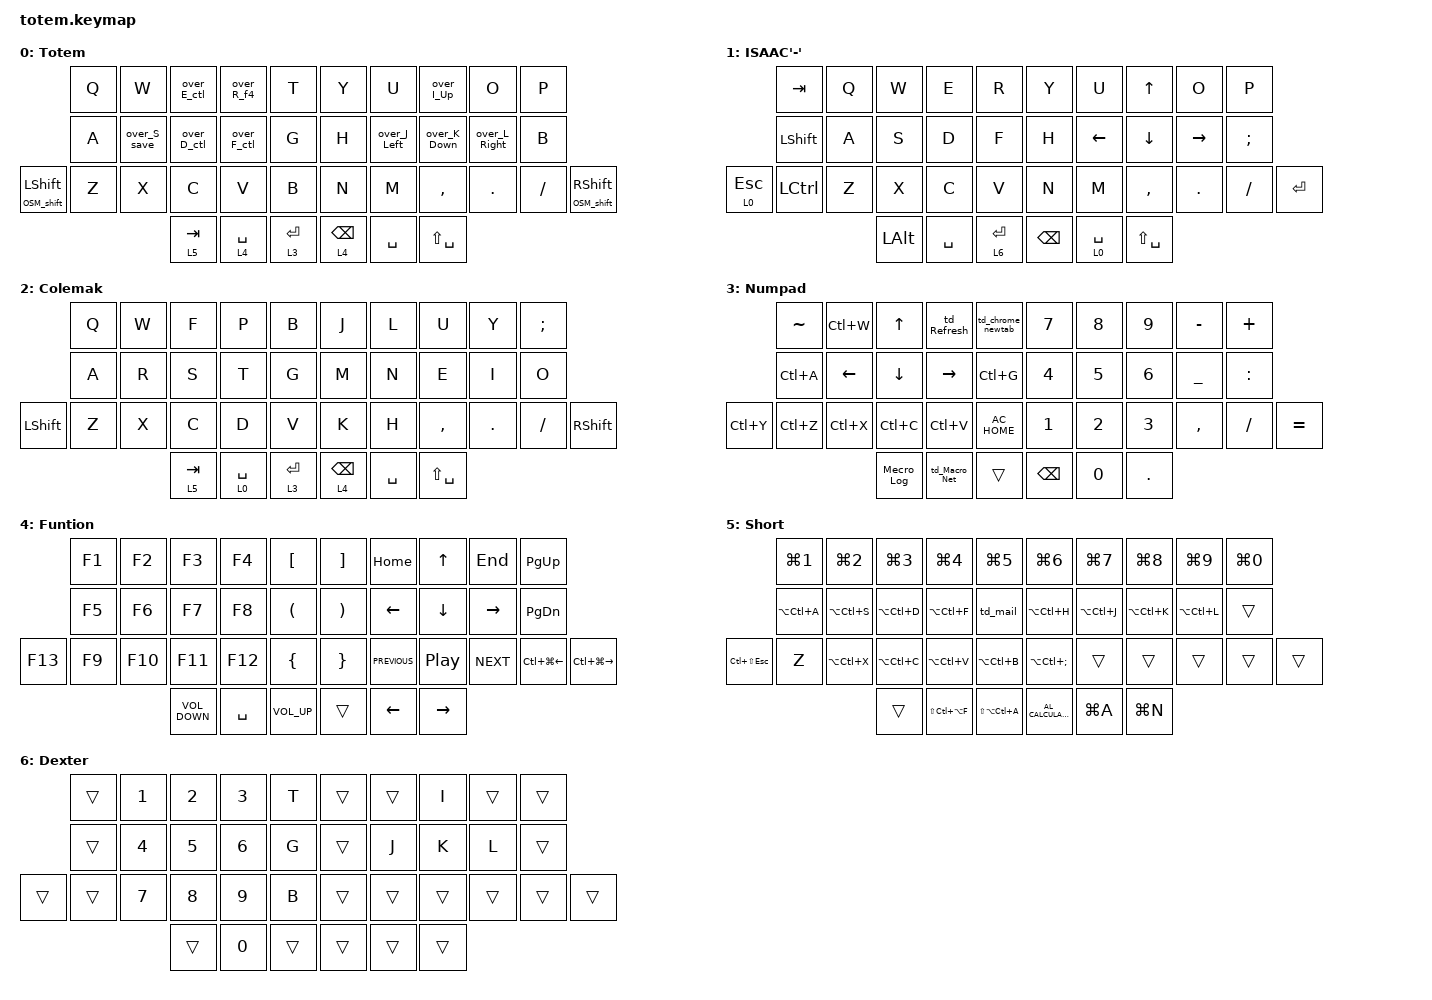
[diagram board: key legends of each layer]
//
//                                                        ▀▀▀▀▀     ▀▀▀▀▀          ▀▀█▀▀
//                                                        ▄▀▀▀▄  ▄  ▄▀▀▀▄  ▄  ▄▀▀▀▄  █  ▄▀▀▀▄
//                                                        █   █  █  █   █  █  █   █  █  █   █
//                                                         ▀▀▀   █   ▀▀▀   █   ▀▀▀   ▀   ▀▀▀
//                                                               █      ▄▄▄█▄▄▄    █   █  
//                                                               ▀      █  █  █     █▄█
//                                                             ▀▀▀▀▀    █  █  █      ▀
//                                                                      ▀  ▀  ▀
//
// ▄▄▄▄▄▄▄▄▄▄▄▄▄▄▄▄▄▄▄▄▄▄▄▄▄▄▄▄▄▄▄▄▄▄▄▄▄▄▄▄▄▄▄▄▄▄▄▄▄▄▄▄▄▄▄▄▄▄▄▄▄▄▄▄▄▄▄▄▄▄▄▄▄▄▄▄▄▄▄▄▄▄▄▄▄▄▄▄▄▄▄▄▄▄▄▄▄▄▄▄▄▄▄▄▄▄▄▄▄▄▄▄▄▄▄▄▄▄▄▄▄▄▄▄▄▄▄▄▄▄▄▄▄▄▄▄▄▄▄▄▄▄▄▄▄▄▄▄▄

#include <behaviors.dtsi>
#include <dt-bindings/zmk/keys.h>

#define Base        0
#define Nav         1
#define Sym         2
#define Fun         3
#define Game        4
#define Gameplus    5

&mt {
    quick-tap-ms = <100>;
    global-quick-tap;
    flavor = "tap-preferred";
    tapping-term-ms = <170>;
};

&lt {
    tapping-term-ms = <240>;
    flavor = "balanced";
    quick-tap-ms = <150>;
};

/ {
    behaviors {
        hm: homerow_mods {
            compatible = "zmk,behavior-hold-tap";
            label = "HOMEROW_MODS";
            #binding-cells = <2>;
            flavor = "tap-preferred";
            tapping-term-ms = <200>;
            quick-tap-ms = <130>;
            global-quick-tap;
            bindings = <&kp>, <&kp>;
        };

        td_Macro_Net: td_Macro_Net {
            compatible = "zmk,behavior-tap-dance";
            label = "TD_MACRO_NET";
            #binding-cells = <0>;
            bindings = <&Macro_Net1>, <&Macro_Net2>;

            tapping-term-ms = <350>;
        };

        td_Refresh: td_Refresh {
            compatible = "zmk,behavior-tap-dance";
            label = "TD_REFRESH";
            #binding-cells = <0>;
            bindings = <&kp LC(R)>, <&Mecro_Refresh>;

            tapping-term-ms = <350>;
        };

        td_mail: td_mail {
            compatible = "zmk,behavior-tap-dance";
            label = "TD_MAIL";
            #binding-cells = <0>;
            bindings = <&kp LA(LC(G))>, <&kp LA(LC(N))>;
        };

        td_chrome_newtab: td_chrome_newtab {
            compatible = "zmk,behavior-tap-dance";
            label = "TD_CHROME_NEWTAB";
            #binding-cells = <0>;
            bindings = <&kp LC(T)>, <&kp LC(LS(T))>;

            tapping-term-ms = <350>;
        };

        over_S_save: over_S_save {
            compatible = "zmk,behavior-mod-morph";
            label = "OVER_S_SAVE";
            bindings = <&kp S>, <&kp LC(S)>;

            #binding-cells = <0>;
            mods = <(MOD_LSFT)>;
        };

        over_I_Up: over_I_Up {
            compatible = "zmk,behavior-mod-morph";
            label = "OVER_I_UP";
            bindings = <&kp I>, <&kp LS(UP_ARROW)>;

            #binding-cells = <0>;
            mods = <(MOD_LSFT)>;
        };

        over_J_Left: over_J_Left {
            compatible = "zmk,behavior-mod-morph";
            label = "OVER_J_LEFT";
            bindings = <&kp J>, <&kp LS(LEFT_ARROW)>;

            #binding-cells = <0>;
            mods = <(MOD_LSFT)>;
        };

        over_K_Down: over_K_Down {
            compatible = "zmk,behavior-mod-morph";
            label = "OVER_K_DOWN";
            bindings = <&kp K>, <&kp LS(DOWN_ARROW)>;

            #binding-cells = <0>;
            mods = <(MOD_LSFT)>;
        };

        over_L_Right: over_L_Right {
            compatible = "zmk,behavior-mod-morph";
            label = "OVER_L_RIGHT";
            bindings = <&kp L>, <&kp LS(RIGHT_ARROW)>;

            #binding-cells = <0>;
            mods = <(MOD_LSFT)>;
        };

        hmc: homerow_mods_ctrl {
            compatible = "zmk,behavior-hold-tap";
            label = "HMC";
            #binding-cells = <2>;
            flavor = "tap-preferred";
            tapping-term-ms = <200>;
            quick-tap-ms = <130>;
            global-quick-tap;
            bindings = <&kp>, <&kp>;

            hold-trigger-key-positions = <34>;
        };

        OSM_shift: OSM_shift {
            compatible = "zmk,behavior-sticky-key";
            label = "OSM_SHIFT";
            bindings = <&kp>;
            #binding-cells = <1>;
            release-after-ms = <200>;
            quick-release;
        };

        LT_hold: LT_hold {
            compatible = "zmk,behavior-hold-tap";
            label = "LT_HOLD";
            bindings = <&mo>, <&kp>;

            #binding-cells = <2>;
            tapping-term-ms = <240>;
            quick-tap-ms = <140>;
            retro-tap;
        };

        MT_hold: MT_hold {
            compatible = "zmk,behavior-hold-tap";
            label = "MT_HOLD";
            bindings = <&kp>, <&kp>;

            #binding-cells = <2>;
            tapping-term-ms = <240>;
            quick-tap-ms = <200>;
        };

        over_R_f4: over_R_f4 {
            compatible = "zmk,behavior-mod-morph";
            label = "OVER_R_F4";
            bindings = <&kp R>, <&kp LA(F4)>;

            #binding-cells = <0>;
            mods = <(MOD_LSFT)>;
        };

        over_D_ctl: over_D_ctl {
            compatible = "zmk,behavior-mod-morph";
            label = "OVER_D_CTL";
            bindings = <&kp D>, <&kp LC(D)>;

            #binding-cells = <0>;
            mods = <(MOD_LSFT)>;
        };

        over_E_ctl: over_E_ctl {
            compatible = "zmk,behavior-mod-morph";
            label = "OVER_E_CTL";
            bindings = <&kp E>, <&kp LC(E)>;

            #binding-cells = <0>;
            mods = <(MOD_LSFT)>;
        };

        over_F_ctl: over_F_ctl {
            compatible = "zmk,behavior-mod-morph";
            label = "OVER_F_CTL";
            bindings = <&kp F>, <&kp LC(F)>;

            #binding-cells = <0>;
            mods = <(MOD_LSFT)>;
        };

        ht_test: ht_test {
            compatible = "zmk,behavior-hold-tap";
            label = "HT_TEST";
            bindings = <&kp>, <&kp>;

            #binding-cells = <2>;
            tapping-term-ms = <350>;
        };

        td_hold_test: td_hold_test {
            compatible = "zmk,behavior-tap-dance";
            label = "TD_HOLD_TEST";
            #binding-cells = <0>;
            bindings = <&kp NUMBER_1>, <&ht_test NUMBER_3 NUMBER_2>;
        };
    };

    combos {
        compatible = "zmk,combos";

        Delete_alt {
            bindings = <&hm LEFT_ALT DEL>;
            key-positions = <11 12>;
            layers = <0 2>;
        };

        question {
            bindings = <&kp QUESTION>;
            key-positions = <16 17>;
            layers = <0 2>;
            timeout-ms = <350>;
        };

        Enter {
            bindings = <&kp ENTER>;
            key-positions = <19 31>;
            layers = <0 2>;
            timeout-ms = <350>;
        };

        Esc {
            bindings = <&kp ESCAPE>;
            key-positions = <0 1>;
            layers = <0 2 3>;
        };

        brackets {
            bindings = <&Macro_brackets>;
            key-positions = <13 14>;
            layers = <0 2 3>;
        };

        caps {
            bindings = <&kp CAPS>;
            key-positions = <0 1 8 9>;
            layers = <0 2>;
            timeout-ms = <350>;
        };

        four {
            bindings = <&kp DOLLAR>;
            key-positions = <4 3>;
            layers = <0 3 2>;
            require-prior-idle-ms = <100>;
        };

        caps_word {
            bindings = <&caps_word>;
            key-positions = <27 28>;
            timeout-ms = <350>;
            layers = <0 2>;
        };

        del {
            bindings = <&hm RIGHT_ALT DELETE>;
            key-positions = <18 17>;
            layers = <0 2>;
        };

        quotes {
            bindings = <&kp DOUBLE_QUOTES>;
            key-positions = <30 29>;
            layers = <0 2>;
        };

        exclamation {
            bindings = <&hm LEFT_SHIFT EXCLAMATION>;
            key-positions = <12 13>;
            layers = <0 2 3>;
        };

        qua {
            bindings = <&kp SQT>;
            key-positions = <29 28>;
            layers = <0 2 3>;
            require-prior-idle-ms = <100>;
        };

        win {
            bindings = <&kp LEFT_WIN>;
            key-positions = <21 22>;
            layers = <0 2>;
        };

        xcut {
            bindings = <&kp LC(X)>;
            key-positions = <22 23>;
            timeout-ms = <350>;
            layers = <0 2>;
        };

        backspace {
            bindings = <&kp BACKSPACE>;
            key-positions = <23 24>;
            layers = <0 2 3>;
        };

        five {
            bindings = <&kp PERCENT>;
            key-positions = <6 5>;
            layers = <0 3 2>;
            require-prior-idle-ms = <100>;
        };

        six {
            bindings = <&kp CARET>;
            key-positions = <6 7>;
            layers = <0 3 2>;
            require-prior-idle-ms = <100>;
        };

        seven {
            bindings = <&kp AMPERSAND>;
            key-positions = <8 7>;
            layers = <0 3 2>;
        };

        two {
            bindings = <&kp AT_SIGN>;
            key-positions = <1 2>;
            layers = <0 3 2>;
            require-prior-idle-ms = <100>;
        };

        three {
            bindings = <&kp HASH>;
            key-positions = <2 3>;
            layers = <0 3 2>;
            require-prior-idle-ms = <100>;
        };

        eight {
            bindings = <&kp ASTERISK>;
            key-positions = <8 9>;
            layers = <0 3 2>;
            require-prior-idle-ms = <100>;
        };

        wave {
            bindings = <&hm LEFT_CONTROL TILDE>;
            key-positions = <10 11>;
            layers = <0 3 2>;
        };

        Macro_brackets {
            bindings = <&Macro_bracket_r>;
            key-positions = <15 16>;
            layers = <0 2>;
            timeout-ms = <350>;
        };

        TG {
            bindings = <&tog 2>;
            key-positions = <10 19 11 18>;
            layers = <0 2>;
        };

        gaming {
            bindings = <&tog 1>;
            key-positions = <20 31>;
            layers = <0 1>;
        };

        backtick {
            bindings = <&kp GRAVE>;
            key-positions = <20 10>;
            layers = <0 2>;
        };

        backslash {
            bindings = <&kp BACKSLASH>;
            key-positions = <31 30>;
            layers = <0 2>;
        };

        win_tab {
            bindings = <&kp LG(TAB)>;
            key-positions = <0 20>;
            layers = <0 2>;
        };

        semi {
            bindings = <&hm RCTRL SEMICOLON>;
            key-positions = <19 18>;
            layers = <0 2>;
        };
    };

    macros {
        Macro_Net1: net_macro {
            compatible = "zmk,behavior-macro";
            #binding-cells = <0>;
            bindings = <&kp LEFT_ARROW &kp LEFT_ARROW &kp N0 &kp ENTER>;
            label = "NET_MACRO";
        };

        Macro_Net2: net_macro2 {
            compatible = "zmk,behavior-macro";
            #binding-cells = <0>;
            bindings = <&kp LEFT_ARROW &kp N0 &kp N0 &kp ENTER>;
            label = "NET_MACRO2";
        };

        Mecro_Log: Mecro_Log {
            compatible = "zmk,behavior-macro";
            #binding-cells = <0>;
            bindings = <&kp D &kp L &kp D &kp M &kp D &kp D &kp L>;
            label = "MECRO_LOG";
        };

        Mecro_Refresh: Mecro_Refresh {
            compatible = "zmk,behavior-macro";
            #binding-cells = <0>;
            bindings = <&kp LC(A) &kp LC(C) &kp LC(R)>;
            label = "MECRO_REFRESH";
        };

        Macro_brackets: Macro_brackets {
            compatible = "zmk,behavior-macro";
            #binding-cells = <0>;
            bindings = <&kp LPAR &kp RPAR &kp LEFT_ARROW>;
            label = "MACRO_BRACKETS";
        };

        Macro_bracket_r: Macro_bracket {
            compatible = "zmk,behavior-macro";
            #binding-cells = <0>;
            bindings = <&kp LEFT_BRACKET &kp RIGHT_BRACKET &kp LEFT_ARROW>;
            label = "MACRO_BRACKET";
        };
    };

    keymap {
        compatible = "zmk,keymap";

        Totem {
            display-name = "Totem";
            bindings = <
                       &kp Q  &kp W         &over_E_ctl  &over_R_f4   &kp T               &kp Y            &kp U         &over_I_Up     &kp O          &kp P
                       &kp A  &over_S_save  &over_D_ctl  &over_F_ctl  &kp G               &kp H            &over_J_Left  &over_K_Down   &over_L_Right  &kp B
&OSM_shift LEFT_SHIFT  &kp Z  &kp X         &kp C        &kp V        &kp B               &kp N            &kp M         &kp COMMA      &kp PERIOD     &kp SLASH  &OSM_shift RIGHT_SHIFT
                                            &lt 5 TAB    &lt 4 SPACE  &LT_hold 3 ENTER    &lt 4 BACKSPACE  &kp SPACE     &kp LS(SPACE)
            >;
        };

        Gaming {
            bindings = <
              &kp TAB    &kp Q  &kp W     &kp E      &kp R          &kp Y     &kp U           &kp UP_ARROW    &kp O            &kp P
              &kp LSHFT  &kp A  &kp S     &kp D      &kp F          &kp H     &kp LEFT_ARROW  &kp DOWN_ARROW  &kp RIGHT_ARROW  &kp SEMI
&lt 0 ESCAPE  &kp LCTRL  &kp Z  &kp X     &kp C      &kp V          &kp N     &kp M           &kp COMMA       &kp DOT          &kp FSLH  &kp ENTER
                                &kp LALT  &kp SPACE  &lt 6 ENTER    &kp BSPC  &lt 0 SPACE     &kp LS(SPACE)
            >;

            label = "ISAAC'-'";
        };

        Colemak {
            bindings = <
           &kp Q  &kp W  &kp F      &kp P        &kp B          &kp J            &kp L      &kp U          &kp Y    &kp SEMI
           &kp A  &kp R  &kp S      &kp T        &kp G          &kp M            &kp N      &kp E          &kp I    &kp O
&kp LSHFT  &kp Z  &kp X  &kp C      &kp D        &kp V          &kp K            &kp H      &kp COMMA      &kp DOT  &kp FSLH  &kp RSHFT
                         &lt 5 TAB  &lt 0 SPACE  &lt 3 ENTER    &lt 4 BACKSPACE  &kp SPACE  &kp LS(SPACE)
            >;

            label = "Colemak";
        };

        Numpad {
            display-name = "Numpad";
            bindings = <
           &kp TILDE  &kp LC(W)       &kp UP_ARROW    &td_Refresh      &td_chrome_newtab    &kp N7         &kp N8        &kp N9        &kp MINUS       &kp PLUS
           &kp LC(A)  &kp LEFT_ARROW  &kp DOWN_ARROW  &kp RIGHT_ARROW  &kp LC(G)            &kp NUMBER_4   &kp N5        &kp NUMBER_6  &kp UNDERSCORE  &kp COLON
&kp LC(Y)  &kp LC(Z)  &kp LC(X)       &kp LC(C)       &kp LC(V)        &kp C_AC_HOME        &kp NUMBER_1   &kp NUMBER_2  &kp NUMBER_3  &kp COMMA       &kp SLASH  &kp EQUAL
                                      &Mecro_Log      &td_Macro_Net    &trans               &kp BACKSPACE  &kp N0        &kp PERIOD
            >;
        };

        Funtion {
            display-name = "Funtion";
            bindings = <
         &kp F1  &kp F2   &kp F3             &kp F4     &kp LBKT                &kp RBKT               &kp HOME        &kp UP_ARROW      &kp END          &kp PAGE_UP
         &kp F5  &kp F6   &kp F7             &kp F8     &kp LEFT_PARENTHESIS    &kp RIGHT_PARENTHESIS  &kp LEFT_ARROW  &kp DOWN_ARROW    &kp RIGHT_ARROW  &kp PAGE_DOWN
&kp F13  &kp F9  &kp F10  &kp F11            &kp F12    &kp LEFT_BRACE          &kp RIGHT_BRACE        &kp C_PREVIOUS  &kp C_PLAY_PAUSE  &kp C_NEXT       &kp LC(LG(LEFT))  &kp LC(LG(RIGHT))
                          &kp C_VOLUME_DOWN  &kp SPACE  &kp C_VOLUME_UP         &trans                 &kp LEFT_ARROW  &kp RIGHT_ARROW
            >;
        };

        Shortcut {
            display-name = "Short";
            bindings = <
                    &kp LG(NUMBER_1)  &kp LG(NUMBER_2)  &kp LG(NUMBER_3)  &kp LG(NUMBER_4)   &kp LG(N5)           &kp LG(NUMBER_6)       &kp LG(N7)     &kp LG(N8)     &kp LG(N9)     &kp LG(N0)
                    &kp LA(LC(A))     &kp LA(LC(S))     &kp LA(LC(D))     &kp LA(LC(F))      &td_mail             &kp LA(LC(H))          &kp LA(LC(J))  &kp LA(LC(K))  &kp LA(LC(L))  &trans
&kp LC(LS(ESCAPE))  &kp Z             &kp LA(LC(X))     &kp LA(LC(C))     &kp LA(LC(V))      &kp LA(LC(B))        &kp LA(LC(SEMICOLON))  &trans         &trans         &trans         &trans      &trans
                                                        &trans            &kp LS(LC(LA(F)))  &kp LS(LA(LC(A)))    &kp C_AL_CALCULATOR    &kp LG(A)      &kp LG(N)
            >;
        };

        Gameadd {
            bindings = <
        &trans  &kp N1  &kp N2  &kp N3  &kp T     &trans  &trans  &kp I   &trans  &trans
        &trans  &kp N4  &kp N5  &kp N6  &kp G     &trans  &kp J   &kp K   &kp L   &trans
&trans  &trans  &kp N7  &kp N8  &kp N9  &kp B     &trans  &trans  &trans  &trans  &trans  &trans
                        &trans  &kp N0  &trans    &trans  &trans  &trans
            >;

            label = "Dexter";
        };
    };
};
